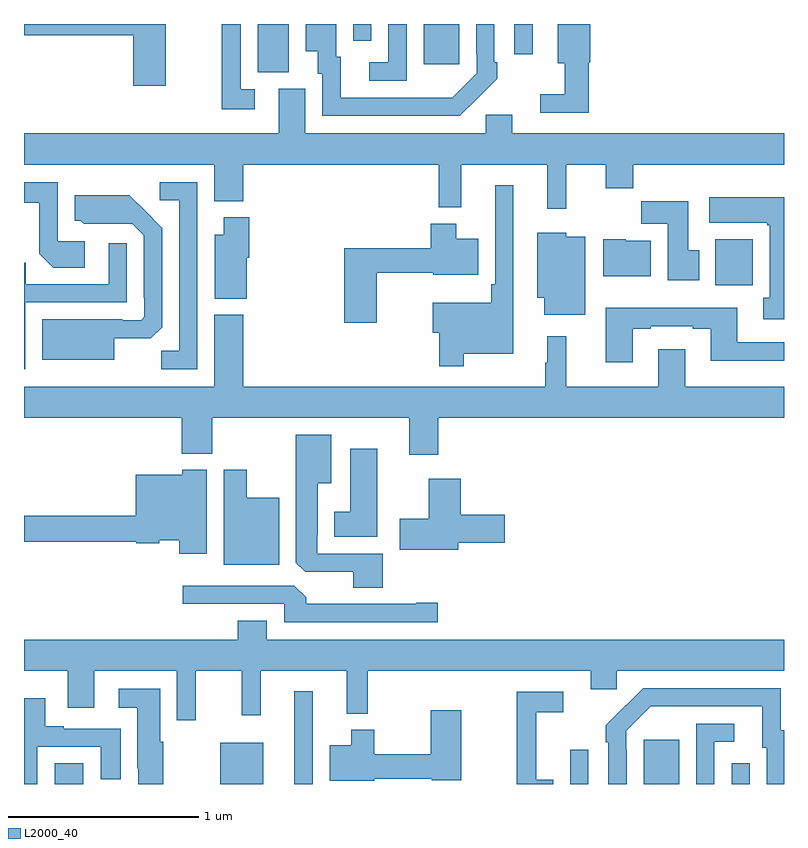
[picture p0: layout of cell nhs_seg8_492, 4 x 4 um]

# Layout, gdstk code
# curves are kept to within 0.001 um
import gdstk
lib = gdstk.Library(unit=1e-6, precision=1e-09)
def R(c, l, rs):  # rectangles x0, y0, x1, y1
    for r in rs: c.add(gdstk.rectangle(r[:2], r[2:], *l))
def P(c, l, *ps):  # polygons
    for p in ps: c.add(gdstk.Polygon(p, *l))
L2000_40 = (2000, 40)

nhs_seg8_492 = lib.new_cell('nhs_seg8_492')
R(nhs_seg8_492, L2000_40, [(143.162,1119.9,143.311,1120.01), (144.032,1119.9,144.259,1120.117), (144.422,1119.9,144.519,1120.387), (145.875,1119.9,145.971,1120.081), (146.261,1119.9,146.449,1120.132), (146.724,1119.9,146.82,1120.009), (146.639,1122.524,146.836,1122.766), (144.23,1123.645,144.394,1123.9), (145.103,1123.689,145.291,1123.9), (145.581,1123.74,145.677,1123.9), (144.732,1123.812,144.828,1123.9)])
P(nhs_seg8_492, L2000_40, [(145.973,1123.698),(145.979,1123.698),(145.979,1123.9),(145.766,1123.9),(145.766,1123.898),(145.808,1123.898),(145.808,1123.694),(145.845,1123.694),(145.845,1123.531),(145.716,1123.531),(145.716,1123.434),(145.973,1123.434)],
  [(145.014,1123.9),(144.918,1123.9),(144.918,1123.698),(144.816,1123.698),(144.816,1123.602),(145.014,1123.602)],
  [(143.746,1123.9),(143,1123.9),(143,1123.84),(143.576,1123.84),(143.576,1123.575),(143.746,1123.575)],
  [(145.385,1123.507),(145.386,1123.506),(145.491,1123.611),(145.491,1123.699),(145.476,1123.699),(145.476,1123.9),(145.38,1123.9),(145.38,1123.741),(145.383,1123.741),(145.383,1123.641),(145.255,1123.513),(145.151,1123.512),(144.667,1123.512),(144.667,1123.728),(144.643,1123.728),(144.643,1123.9),(144.482,1123.9),(144.482,1123.757),(144.545,1123.757),(144.545,1123.638),(144.57,1123.638),(144.57,1123.416),(145.294,1123.416)],
  [(144.214,1123.557),(144.141,1123.557),(144.141,1123.9),(144.04,1123.9),(144.04,1123.452),(144.214,1123.452)],
  [(145.853,1123.16),(146.063,1123.16),(146.063,1123.036),(146.207,1123.036),(146.207,1123.16),(147,1123.16),(147,1123.324),(145.57,1123.324),(145.57,1123.422),(145.431,1123.422),(145.431,1123.324),(144.481,1123.324),(144.481,1123.56),(144.341,1123.56),(144.341,1123.324),(143,1123.324),(143,1123.16),(144.002,1123.16),(144.002,1122.968),(144.155,1122.968),(144.155,1123.16),(145.183,1123.16),(145.183,1122.935),(145.301,1122.935),(145.301,1123.16),(145.754,1123.16),(145.754,1122.927),(145.853,1122.927)],
  [(143.32,1122.756),(143.178,1122.756),(143.178,1123.068),(143,1123.068),(143,1122.96),(143.079,1122.96),(143.079,1122.692),(143.155,1122.616),(143.32,1122.616)],
  [(143.913,1123.068),(143.715,1123.068),(143.715,1122.972),(143.817,1122.972),(143.817,1122.179),(143.722,1122.179),(143.722,1122.084),(143.913,1122.084)],
  [(145.315,1122.164),(145.576,1122.164),(145.576,1122.429),(145.575,1122.429),(145.575,1123.051),(145.479,1123.051),(145.479,1122.529),(145.459,1122.529),(145.459,1122.433),(145.152,1122.433),(145.152,1122.275),(145.186,1122.275),(145.186,1122.099),(145.315,1122.099)],
  [(143.476,1122.245),(143.668,1122.245),(143.727,1122.304),(143.727,1122.826),(143.555,1123),(143.267,1123),(143.267,1122.864),(143.298,1122.864),(143.314,1122.848),(143.571,1122.849),(143.631,1122.789),(143.631,1122.46),(143.634,1122.46),(143.634,1122.36),(143.616,1122.342),(143.516,1122.342),(143.516,1122.346),(143.096,1122.346),(143.096,1122.134),(143.476,1122.134)],
  [(147,1122.988),(146.607,1122.988),(146.607,1122.854),(146.911,1122.854),(146.911,1122.841),(146.924,1122.841),(146.924,1122.458),(146.891,1122.458),(146.891,1122.345),(147,1122.345)],
  [(146.554,1122.708),(146.497,1122.708),(146.497,1122.967),(146.248,1122.967),(146.248,1122.848),(146.387,1122.848),(146.387,1122.552),(146.554,1122.552)],
  [(144.172,1122.669),(144.185,1122.669),(144.185,1122.883),(144.05,1122.883),(144.05,1122.79),(144.005,1122.79),(144.005,1122.455),(144.172,1122.455)],
  [(144.856,1122.592),(145.154,1122.592),(145.154,1122.581),(145.39,1122.581),(145.39,1122.769),(145.276,1122.769),(145.276,1122.85),(145.142,1122.85),(145.142,1122.721),(144.686,1122.721),(144.686,1122.327),(144.856,1122.327)],
  [(145.954,1122.781),(145.854,1122.781),(145.854,1122.802),(145.7,1122.802),(145.7,1122.458),(145.739,1122.458),(145.739,1122.371),(145.954,1122.371)],
  [(146.299,1122.76),(146.166,1122.76),(146.166,1122.766),(146.048,1122.766),(146.048,1122.572),(146.299,1122.572)],
  [(143.007,1122.435),(143.541,1122.435),(143.541,1122.745),(143.445,1122.745),(143.445,1122.531),(143.009,1122.531),(143.009,1122.644),(143,1122.644),(143,1122.084),(143.007,1122.084)],
  [(146.203,1122.297),(146.299,1122.297),(146.299,1122.309),(146.519,1122.309),(146.519,1122.297),(146.615,1122.297),(146.615,1122.128),(147,1122.128),(147,1122.225),(146.755,1122.225),(146.755,1122.406),(146.063,1122.406),(146.063,1122.12),(146.203,1122.12)],
  [(145.181,1121.828),(147,1121.828),(147,1121.992),(146.479,1121.992),(146.479,1122.187),(146.339,1122.187),(146.339,1121.992),(145.853,1121.992),(145.853,1122.256),(145.754,1122.256),(145.754,1122.116),(145.743,1122.116),(145.743,1121.992),(144.155,1121.992),(144.155,1122.37),(144.002,1122.37),(144.002,1121.992),(143,1121.992),(143,1121.828),(143.831,1121.828),(143.831,1121.639),(143.991,1121.639),(143.991,1121.828),(145.028,1121.828),(145.028,1121.634),(145.181,1121.634)],
  [(144.887,1121.112),(144.543,1121.112),(144.543,1121.209),(144.547,1121.209),(144.547,1121.483),(144.616,1121.483),(144.616,1121.737),(144.431,1121.737),(144.431,1121.065),(144.48,1121.016),(144.734,1121.016),(144.734,1120.933),(144.887,1120.933)],
  [(144.859,1121.665),(144.716,1121.665),(144.716,1121.332),(144.632,1121.332),(144.632,1121.201),(144.859,1121.201)],
  [(143.962,1121.554),(143.832,1121.554),(143.832,1121.527),(143.588,1121.527),(143.588,1121.312),(143,1121.312),(143,1121.176),(143.592,1121.176),(143.592,1121.168),(143.712,1121.168),(143.712,1121.183),(143.816,1121.183),(143.816,1121.112),(143.962,1121.112)],
  [(144.343,1121.407),(144.172,1121.407),(144.172,1121.554),(144.05,1121.554),(144.05,1121.054),(144.343,1121.054)],
  [(145.285,1121.171),(145.531,1121.171),(145.531,1121.318),(145.298,1121.318),(145.298,1121.506),(145.13,1121.506),(145.13,1121.295),(144.978,1121.295),(144.978,1121.132),(145.285,1121.132)],
  [(145.177,1120.853),(145.064,1120.853),(145.064,1120.848),(144.485,1120.848),(144.485,1120.882),(144.423,1120.944),(143.835,1120.944),(143.835,1120.848),(144.369,1120.848),(144.369,1120.752),(145.177,1120.752)],
  [(143.904,1120.496),(144.145,1120.496),(144.145,1120.263),(144.245,1120.263),(144.245,1120.496),(144.698,1120.496),(144.698,1120.271),(144.808,1120.271),(144.808,1120.496),(145.982,1120.496),(145.982,1120.398),(146.121,1120.398),(146.121,1120.496),(147,1120.496),(147,1120.66),(144.277,1120.66),(144.277,1120.759),(144.125,1120.759),(144.125,1120.66),(143,1120.66),(143,1120.496),(143.231,1120.496),(143.231,1120.302),(143.371,1120.302),(143.371,1120.496),(143.805,1120.496),(143.805,1120.236),(143.904,1120.236)],
  [(146.172,1120.079),(146.169,1120.079),(146.169,1120.179),(146.298,1120.308),(146.885,1120.308),(146.885,1120.092),(146.909,1120.092),(146.909,1119.9),(147,1119.9),(147,1120.182),(146.982,1120.182),(146.982,1120.404),(146.258,1120.404),(146.061,1120.209),(146.061,1120.121),(146.076,1120.121),(146.076,1119.9),(146.172,1119.9)],
  [(143.734,1120.122),(143.716,1120.122),(143.716,1120.402),(143.499,1120.402),(143.499,1120.301),(143.597,1120.301),(143.597,1119.982),(143.601,1119.982),(143.601,1119.9),(143.734,1119.9)],
  [(145.786,1119.922),(145.697,1119.922),(145.697,1120.278),(145.837,1120.278),(145.837,1120.386),(145.594,1120.386),(145.594,1119.9),(145.786,1119.9)],
  [(143.071,1120.095),(143.405,1120.095),(143.405,1119.924),(143.509,1119.924),(143.509,1120.191),(143.209,1120.191),(143.209,1120.204),(143.113,1120.204),(143.113,1120.351),(143,1120.351),(143,1119.9),(143.071,1119.9)],
  [(144.844,1119.928),(145.146,1119.928),(145.146,1119.92),(145.3,1119.92),(145.3,1120.288),(145.142,1120.288),(145.142,1120.057),(144.844,1120.057),(144.844,1120.186),(144.722,1120.186),(144.722,1120.105),(144.608,1120.105),(144.608,1119.917),(144.844,1119.917)],
  [(146.634,1120.122),(146.737,1120.122),(146.737,1120.218),(146.538,1120.218),(146.538,1119.9),(146.634,1119.9)])

lib.write_gds('nhs_seg8_492.gds')
